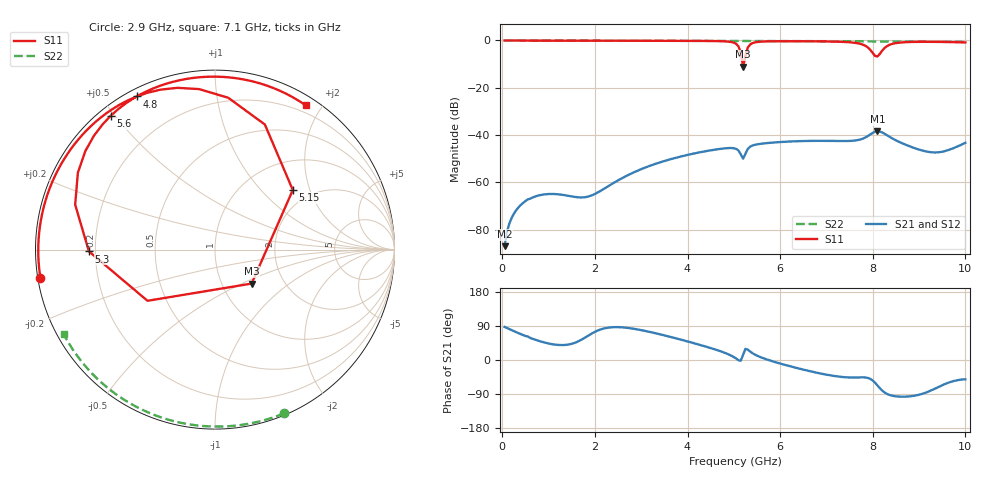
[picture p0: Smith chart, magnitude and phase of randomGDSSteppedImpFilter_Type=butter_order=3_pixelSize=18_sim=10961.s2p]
! freq	dB(S11)	phase(S11)	dB(S12)	phase(S12)
!  dB(S21)	phase(S21)	dB(S22)	phase(S22)
!S-par simulation data
#  GHz  S  DB  R 50
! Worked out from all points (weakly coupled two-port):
!   200 points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, 50 MHz to 10 GHz, reference 50 ohm
!   highest |S21| = -38.40 dB at 8.1 GHz (marker M1); lowest = -87.0 dB at 50 MHz (marker M2)
!   lowest |S11| = -11.1 dB at 5.2 GHz (marker M3), VSWR 1.77, Z = 69 - j28.3 ohm
!   |S11| at or under -10 dB: 5.190577 GHz to 5.21203 GHz (21.45 MHz wide, 0.412 % of centre)
!   |S22| runs from -0.6 to 0.0 dB; largest |S21 - S12| = 0
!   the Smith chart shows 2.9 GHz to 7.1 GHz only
!   S11 on the Smith chart (normalised r, x): 2.9 GHz: 0.01, -0.08; 4.8 GHz: 0.03, +0.61; 5.15 GHz: 1.63, +1.54; 5.3 GHz: 0.17, -0.01; 5.6 GHz: 0.03, +0.49; 7.1 GHz: 0.11, +1.81
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0.05  -0.00 -4.5  -87.05 87.2  -87.05 87.2  -0.00 -1.2
0.4  -0.04 -34.8  -69.60 68.3  -69.60 68.3  -0.01 -9.6
0.85  -0.08 -69.9  -65.31 48.2  -65.31 48.2  -0.03 -20.3
1.75  -0.11 -123.7  -66.40 56.4  -66.40 56.4  -0.05 -41.4
2.9  -0.13 -170.8  -55.29 81.1  -55.29 81.1  -0.09 -67.1
3.4  -0.14 172.1  -51.62 68.0  -51.62 68.0  -0.10 -77.8
4.8  -0.37 117.1  -45.66 19.2  -45.66 19.2  -0.16 -106.4
5.05  -1.42 85.0  -45.88 3.8  -45.88 3.8  -0.17 -111.4
5.15  -5.25 37.5  -48.22 -2.0  -48.22 -2.0  -0.17 -113.3
5.2  -11.10 -42.8  -50.00 13.4  -50.00 13.4  -0.18 -114.3
5.3  -3.07 -179.2  -45.94 27.5  -45.94 27.5  -0.18 -116.3
5.6  -0.49 128.0  -43.68 6.3  -43.68 6.3  -0.20 -122.1
6.7  -0.35 76.8  -42.49 -31.1  -42.49 -31.1  -0.27 -143.2
7.1  -0.45 57.8  -42.52 -40.8  -42.52 -40.8  -0.31 -150.9
7.8  -1.89 -6.0  -41.41 -45.8  -41.41 -45.8  -0.37 -164.5
8  -5.33 -75.1  -39.10 -54.2  -39.10 -54.2  -0.39 -168.5
8.1  -6.78 -150.7  -38.40 -67.0  -38.40 -67.0  -0.40 -170.4
8.2  -4.39 142.8  -38.89 -80.3  -38.89 -80.3  -0.41 -172.4
8.35  -1.95 93.5  -40.63 -91.7  -40.63 -91.7  -0.43 -175.5
8.6  -0.87 56.6  -43.20 -96.8  -43.20 -96.8  -0.46 179.4
9  -0.58 24.9  -46.18 -91.6  -46.18 -91.6  -0.50 171.1
10  -0.85 -36.1  -43.29 -51.1  -43.29 -51.1  -0.63 148.9
